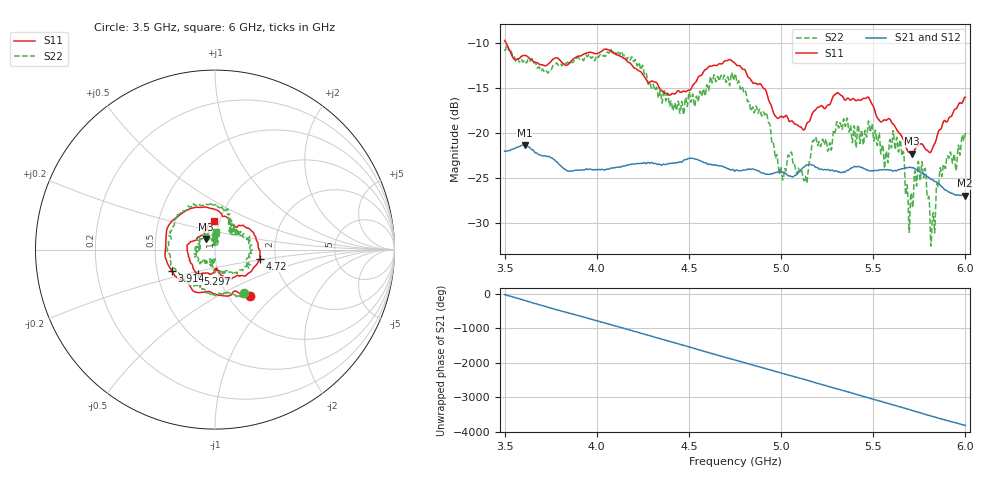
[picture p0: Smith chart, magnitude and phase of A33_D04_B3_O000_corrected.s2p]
! Created with skrf 1.9.0 (http://scikit-rf.org).
# Hz S RI R 50.0
!freq ReS11 ImS11 ReS21 ImS21 ReS12 ImS12 ReS22 ImS22
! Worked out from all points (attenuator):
!   1601 points, 3.5 GHz to 6 GHz, reference 50 ohm
!   highest |S21| = -21.36 dB at 3.609 GHz (marker M1); lowest = -27.0 dB at 5.995 GHz (marker M2)
!   lowest |S11| = -22.3 dB at 5.709 GHz (marker M3), VSWR 1.17, Z = 45 + j5.31 ohm
!   |S11| at or under -10 dB: 3.508 GHz to end of sweep
!   |S22| runs from -32.6 to -10.3 dB; largest |S21 - S12| = 0.00095
!   S11 on the Smith chart (normalised r, x): 3.5 GHz: 1.25, -0.73; 3.914 GHz: 0.60, -0.16; 4.72 GHz: 1.66, -0.18; 5.297 GHz: 0.80, -0.22; 6 GHz: 0.94, +0.30
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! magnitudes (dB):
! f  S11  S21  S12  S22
! 3.5 GHz  -9.7  -22.0  -22.0  -10.7
! 3.609 GHz  -11.4  -21.4  -21.3  -11.9
! 3.914 GHz  -11.4  -24.1  -24.1  -11.8
! 3.917 GHz  -11.4  -24.1  -24.1  -11.8
! 4.127 GHz  -11.5  -23.8  -23.7  -11.3
! 4.334 GHz  -14.8  -23.5  -23.4  -16.1
! 4.72 GHz  -11.9  -24.1  -24.1  -14.8
! 4.75 GHz  -12.3  -24.2  -24.1  -13.5
! 4.927 GHz  -15.9  -24.6  -24.6  -18.4
! 5.002 GHz  -18.2  -24.4  -24.3  -24.2
! 5.133 GHz  -19.3  -23.6  -23.6  -24.8
! 5.167 GHz  -18.0  -23.6  -23.5  -21.3
! 5.297 GHz  -15.7  -24.2  -24.1  -19.5
! 5.584 GHz  -18.4  -24.1  -24.1  -21.9
! 5.655 GHz  -20.4  -24.0  -23.9  -22.5
! 5.686 GHz  -22.0  -23.9  -23.9  -26.2
! 5.709 GHz  -22.3  -23.9  -23.8  -27.3
! 5.773 GHz  -21.5  -24.6  -24.5  -25.0
! 5.822 GHz  -21.7  -25.2  -25.1  -29.3
! 5.87 GHz  -19.4  -26.0  -25.9  -24.7
! 5.995 GHz  -16.1  -27.0  -26.9  -20.6
! 6 GHz  -16.0  -27.0  -26.9  -20.0
